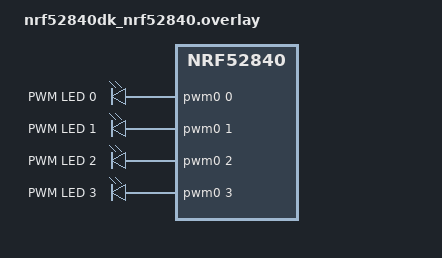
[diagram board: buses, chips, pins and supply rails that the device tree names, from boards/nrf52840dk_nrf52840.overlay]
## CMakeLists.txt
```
#-------------------------------------------------------------------------------
# Zephyr Example Application
#
# Copyright (c) 2021 Nordic Semiconductor ASA
# SPDX-License-Identifier: Apache-2.0

cmake_minimum_required(VERSION 3.13.1)
find_package(Zephyr REQUIRED HINTS $ENV{ZEPHYR_BASE})

project(app LANGUAGES C)

zephyr_include_directories(src)

target_sources(app PRIVATE src/main.c)

if(EXISTS ${CMAKE_CURRENT_SOURCE_DIR}/src/bg_image.c)
	target_sources(app PRIVATE src/bg_image.c)
endif()

if(EXISTS ${CMAKE_CURRENT_SOURCE_DIR}/src/midi_eq_data.c)
	target_sources(app PRIVATE src/midi_eq_data.c)
endif()
```

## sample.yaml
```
# This file is provided so that the application can be compiled using Twister,
# the Zephyr testing tool. In this file, multiple combinations can be specified,
# so that you can easily test all of them locally or in CI.
sample:
  description: Example application
  name: example-application
common:
  build_only: true
  integration_platforms:
    - nrf52840dk/nrf52840
tests:
  app.default: {}
  app.debug:
    extra_overlay_confs:
      - debug.conf
```

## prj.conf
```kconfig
# Copyright (c) 2021 Nordic Semiconductor ASA
# SPDX-License-Identifier: Apache-2.0
#
# This file contains selected Kconfig options for the application.

CONFIG_GPIO=y
CONFIG_PWM=y
CONFIG_SMF=y

CONFIG_DISPLAY=y
CONFIG_LVGL=y
CONFIG_LV_FONT_MONTSERRAT_24=y
CONFIG_LV_FONT_UNSCII_16=y

CONFIG_LV_Z_MEM_POOL_SIZE=32768
CONFIG_MAIN_STACK_SIZE=4096

CONFIG_HEAP_MEM_POOL_SIZE=32768

CONFIG_ENTROPY_GENERATOR=y
CONFIG_ENTROPY_DEVICE_RANDOM_GENERATOR=y

CONFIG_PRINTK=y
CONFIG_CONSOLE=y
CONFIG_SERIAL=y
CONFIG_LV_Z_AUTO_INIT=y
```

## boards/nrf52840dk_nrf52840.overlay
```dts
/ {
    pwmleds {
        compatible = "pwm-leds";
        pwm_led0: pwm_led_0 { pwms = <&pwm0 0 PWM_MSEC(20) PWM_POLARITY_NORMAL>; label = "PWM LED 0"; };
        pwm_led1: pwm_led_1 { pwms = <&pwm0 1 PWM_MSEC(20) PWM_POLARITY_NORMAL>; label = "PWM LED 1"; };
        pwm_led2: pwm_led_2 { pwms = <&pwm0 2 PWM_MSEC(20) PWM_POLARITY_NORMAL>; label = "PWM LED 2"; };
        pwm_led3: pwm_led_3 { pwms = <&pwm0 3 PWM_MSEC(20) PWM_POLARITY_NORMAL>; label = "PWM LED 3"; };
    };

    aliases {
    pwm-led0 = &pwm_led0;
    pwm-led1 = &pwm_led1;
    pwm-led2 = &pwm_led2;
    pwm-led3 = &pwm_led3;
    };

};

&adafruit_2_8_tft_touch_v2_ili9340 {
	rotation = <0>;
};

&pinctrl {
    pwm0_default: pwm0_default {
        group1 {
            psels =
                <NRF_PSEL(PWM_OUT0, 0, 13)>,
                <NRF_PSEL(PWM_OUT1, 0, 14)>,
                <NRF_PSEL(PWM_OUT2, 0, 15)>,
                <NRF_PSEL(PWM_OUT3, 0, 16)>;
            nordic,invert;
        };
    };

    pwm0_sleep: pwm0_sleep {
        group1 {
            psels =
                <NRF_PSEL(PWM_OUT0, 0, 13)>,
                <NRF_PSEL(PWM_OUT1, 0, 14)>,
                <NRF_PSEL(PWM_OUT2, 0, 15)>,
                <NRF_PSEL(PWM_OUT3, 0, 16)>;
            low-power-enable;
        };
    };
};
```

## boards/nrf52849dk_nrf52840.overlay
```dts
/ {
    pwmleds {
        compatible = "pwm-leds";
        pwm_led0: pwm_led_0 {
            pwms = <&pwm0 0 PWM_MSEC(20) PWM_POLARITY_NORMAL>;
            label = "PWM LED 0";
        };
        pwm_led1: pwm_led_1 {
            pwms = <&pwm0 1 PWM_MSEC(20) PWM_POLARITY_NORMAL>;
            label = "PWM LED 1";
        };
        pwm_led2: pwm_led_2 {
            pwms = <&pwm0 2 PWM_MSEC(20) PWM_POLARITY_NORMAL>;
            label = "PWM LED 2";
        };
        pwm_led3: pwm_led_3 {
            pwms = <&pwm0 3 PWM_MSEC(20) PWM_POLARITY_NORMAL>;
            label = "PWM LED 3";
        };
    };

     aliases {
        pwm_led0 = &pwm_led0;
        pwm_led1 = &pwm_led1;
        pwm_led2 = &pwm_led2;
        pwm_led3 = &pwm_led3;

        /* optional: keep dash versions too if you want */
        pwm-led0 = &pwm_led0;
        pwm-led1 = &pwm_led1;
        pwm-led2 = &pwm_led2;
        pwm-led3 = &pwm_led3;
    };
};

&pinctrl { 
    pwm0_default: pwm0_default {
		group1 {
			psels = 
                <NRF_PSEL(PWM_OUT0, 0, 13)>, 
                <NRF_PSEL(PWM_OUT1, 0, 14)>, 
                <NRF_PSEL(PWM_OUT2, 0, 15)>, 
                <NRF_PSEL(PWM_OUT3, 0, 16)>;
			nordic,invert;
		};
	};

    pwm0_sleep: pwm0_sleep {
		group1 {
			psels = 
                <NRF_PSEL(PWM_OUT0, 0, 13)>, 
                <NRF_PSEL(PWM_OUT1, 0, 14)>, 
                <NRF_PSEL(PWM_OUT2, 0, 15)>, 
                <NRF_PSEL(PWM_OUT3, 0, 16)>;
			low-power-enable;
		};
	};
};
```

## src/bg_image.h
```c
#pragma once
#include <lvgl.h>

extern const lv_image_dsc_t bg_image;
```

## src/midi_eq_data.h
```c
#pragma once
#include <stdint.h>

#define MIDI_EQ_BAR_COUNT 12
#define MIDI_EQ_FRAME_MS 20
#define MIDI_EQ_FRAME_COUNT 16207
#define MIDI_EQ_TITLE "Billie Jean 3"

extern const uint8_t midi_eq_frames[MIDI_EQ_FRAME_COUNT][MIDI_EQ_BAR_COUNT];
```
